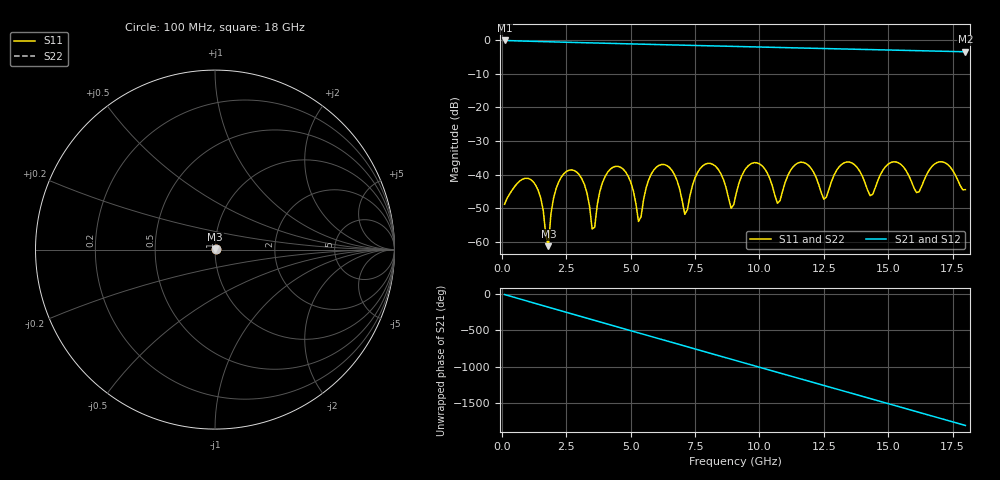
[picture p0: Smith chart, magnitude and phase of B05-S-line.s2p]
! yapnr rf coupon B: B05 S L40 (line, family S)
! stackup JLC06161H-7628, nominal parameters; reference planes 10 mm from each end; 50 ohm (renormalized from the line's Zc)
! model: 2D quasi-static RLGC (Djordjevic-Sarkar, Huray roughness, Wheeler loss); generated by python -m yapnr.rf.coupons expected
# GHz S DB R 50
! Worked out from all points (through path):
!   180 points, 100 MHz to 18 GHz, reference 50 ohm
!   highest |S21| = -0.05 dB at 100 MHz (marker M1); lowest = -3.4 dB at 18 GHz (marker M2)
!   group delay of S21, straight-line fit = 278 ps
!   lowest |S11| = -61.3 dB at 1.8 GHz (marker M3), VSWR 1.00, Z = 50 + j0.0734 ohm
!   |S11| at or under -10 dB: start of sweep to end of sweep
!   |S22| runs from -61.3 to -36.2 dB; largest |S21 - S12| = 0
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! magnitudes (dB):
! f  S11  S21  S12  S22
! 100 MHz  -48.8  -0.1  -0.1  -48.8
! 1.2 GHz  -42.0  -0.3  -0.3  -42.0
! 1.8 GHz  -61.3  -0.4  -0.4  -61.3
! 2.2 GHz  -42.2  -0.5  -0.5  -42.2
! 3.1 GHz  -41.2  -0.7  -0.7  -41.2
! 3.5 GHz  -56.2  -0.8  -0.8  -56.2
! 4.4 GHz  -37.5  -1.0  -1.0  -37.5
! 5 GHz  -42.2  -1.1  -1.1  -42.2
! 5.3 GHz  -53.9  -1.1  -1.1  -53.9
! 6.1 GHz  -37.2  -1.3  -1.3  -37.2
! 7.1 GHz  -51.8  -1.5  -1.5  -51.8
! 7.9 GHz  -36.9  -1.6  -1.6  -36.9
! 9.1 GHz  -45.5  -1.8  -1.8  -45.5
! 9.8 GHz  -36.4  -2.0  -2.0  -36.4
! 10.7 GHz  -48.5  -2.1  -2.1  -48.5
! 11.4 GHz  -37.0  -2.3  -2.3  -37.0
! 12.1 GHz  -39.2  -2.4  -2.4  -39.2
! 12.5 GHz  -47.3  -2.5  -2.5  -47.3
! 13.6 GHz  -36.5  -2.7  -2.7  -36.5
! 14.3 GHz  -46.2  -2.8  -2.8  -46.2
! 15.1 GHz  -36.4  -2.9  -2.9  -36.4
! 18 GHz  -44.4  -3.4  -3.4  -44.4
